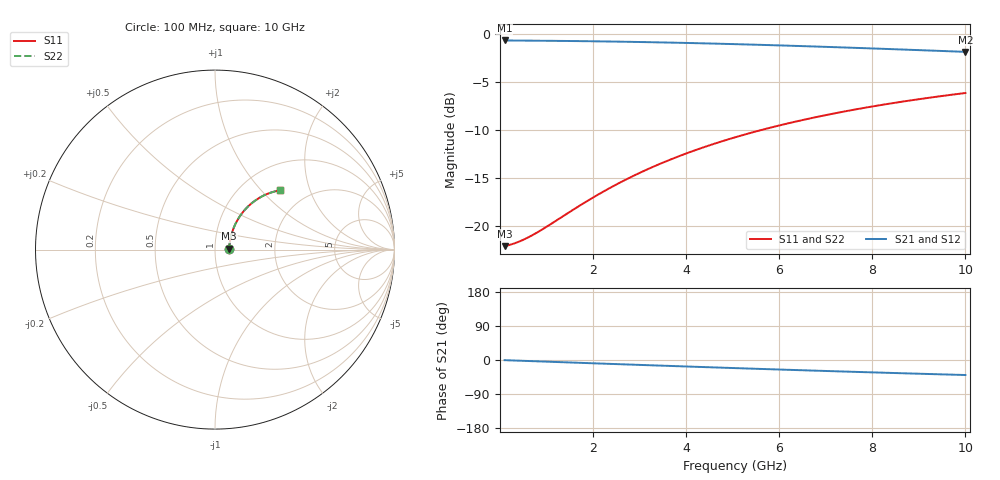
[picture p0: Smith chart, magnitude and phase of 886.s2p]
# Hz S RI R 50.00
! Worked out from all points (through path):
!   100 points, 100 MHz to 10 GHz, reference 50 ohm
!   highest |S21| = -0.71 dB at 100 MHz (marker M1); lowest = -1.9 dB at 10 GHz (marker M2)
!   group delay of S21, straight-line fit = 11.1 ps
!   lowest |S11| = -22.1 dB at 100 MHz (marker M3), VSWR 1.17, Z = 58.5 + j0.614 ohm
!   |S11| at or under -10 dB: start of sweep to 5.635 GHz
!   |S22| runs from -22.1 to -6.2 dB; largest |S21 - S12| = 0
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1e8  0.0783 0.00522  0.9217 -0.00701  0.9217 -0.00701  0.0783 0.00522
3e8  0.0794 0.0156  0.9206 -0.021  0.9206 -0.021  0.0794 0.0156
4e8  0.08 0.0208  0.92 -0.028  0.92 -0.028  0.08 0.0208
5e8  0.0806 0.026  0.9194 -0.0349  0.9194 -0.0349  0.0806 0.026
7e8  0.0819 0.0363  0.918 -0.0488  0.918 -0.0488  0.0819 0.0363
1e9  0.0844 0.0516  0.9154 -0.0696  0.9154 -0.0696  0.0844 0.0516
1.8e9  0.094 0.0917  0.9054 -0.1241  0.9054 -0.1241  0.094 0.0917
2.2e9  0.1004 0.1111  0.8987 -0.1507  0.8987 -0.1507  0.1004 0.1111
2.6e9  0.108 0.13  0.8909 -0.1767  0.8909 -0.1767  0.108 0.13
3e9  0.1165 0.1483  0.8819 -0.2022  0.8819 -0.2022  0.1165 0.1483
3.4e9  0.1261 0.1659  0.8719 -0.2271  0.8719 -0.2271  0.1261 0.1659
3.8e9  0.1365 0.1828  0.861 -0.2512  0.861 -0.2512  0.1365 0.1828
4.2e9  0.1478 0.1989  0.8492 -0.2745  0.8492 -0.2745  0.1478 0.1989
4.6e9  0.1599 0.2141  0.8365 -0.297  0.8365 -0.297  0.1599 0.2141
5.1e9  0.176 0.232  0.8196 -0.324  0.8196 -0.324  0.176 0.232
5.5e9  0.1896 0.2453  0.8053 -0.3445  0.8053 -0.3445  0.1896 0.2453
5.9e9  0.2037 0.2576  0.7904 -0.3641  0.7904 -0.3641  0.2037 0.2576
6.7e9  0.2332 0.2794  0.7591 -0.4006  0.7591 -0.4006  0.2332 0.2794
7.5e9  0.2641 0.2975  0.7262 -0.4334  0.7262 -0.4334  0.2641 0.2975
8.4e9  0.2996 0.3134  0.6882 -0.4658  0.6882 -0.4658  0.2996 0.3134
9.2e9  0.3315 0.3237  0.6538 -0.491  0.6538 -0.491  0.3315 0.3237
1e10  0.3632 0.3306  0.6193 -0.5129  0.6193 -0.5129  0.3632 0.3306
